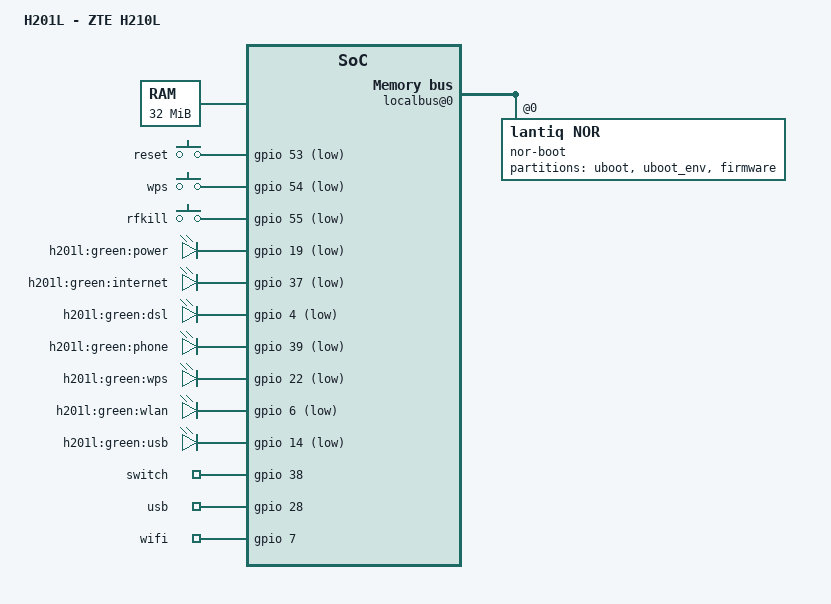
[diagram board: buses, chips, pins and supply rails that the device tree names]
/dts-v1/;

/include/ "ar9.dtsi"

/ {
	model = "H201L - ZTE H210L";

	chosen {
		bootargs = "console=ttyLTQ0,115200 init=/etc/preinit";

		leds {
			boot = &power_green;
			failsafe = &power_green;
			running = &power_green;

			dsl = &dsl;
			internet = &online;
			usb = &usb;
			wifi = &wifi;
		};
	};

	memory@0 {
		reg = <0x0 0x2000000>;
	};

	fpi@10000000 {
		localbus@0 {
			nor-boot@0 {
				compatible = "lantiq,nor";
				bank-width = <2>;
				reg = <0 0x0 0x2000000>;
				#address-cells = <1>;
				#size-cells = <1>;

				partition@0 {
					label = "uboot";
					reg = <0x00000 0x20000>;
					read-only;
				};

				partition@20000 {
					label = "uboot_env";
					reg = <0x20000 0x10000>;
					read-only;
				};

				partition@30000 {
					label = "firmware";
					reg = <0x30000 0x7d0000>;
				};
			};
		};

		gpio: pinmux@E100B10 {
			pinctrl-names = "default";
			pinctrl-0 = <&state_default>;

			state_default: pinmux {
			};
		};

		etop@E180000 {
			phy-mode = "rgmii";
		};

		ifxhcd@E101000 {
			status = "okay";
			gpios = <&gpio 36 0>;
		};
	};

	gpio-keys-polled {
		compatible = "gpio-keys-polled";
		#address-cells = <1>;
		#size-cells = <0>;
		poll-interval = <100>;

		reset {
			label = "reset";
			gpios = <&gpio 53 1>;
			linux,code = <0x198>;
		};
		wps {
			label = "wps";
			gpios = <&gpio 54 1>;
			linux,code = <0x211>;
		};
		rfkill {
			label = "rfkill";
			gpios = <&gpio 55 1>;
			linux,code = <0xf7>;
		};
	};

	gpio-leds {
		compatible = "gpio-leds";

		power_green: power {
			label = "h201l:green:power";
			gpios = <&gpio 19 1>;
			default-state = "keep";
		};
		online: online {
			label = "h201l:green:internet";
			gpios = <&gpio 37 1>;
		};
		dsl: dsl {
			label = "h201l:green:dsl";
			gpios = <&gpio 4 1>;
		};
		phone {
			label = "h201l:green:phone";
			gpios = <&gpio 39 1>;
		};
		wps {
			label = "h201l:green:wps";
			gpios = <&gpio 22 1>;
		};
		wifi: wifi {
			label = "h201l:green:wlan";
			gpios = <&gpio 6 1>;
		};
		usb: usb {
			label = "h201l:green:usb";
			gpios = <&gpio 14 1>;
		};
	};

	gpio_export {
		compatible = "gpio-export";
		#size-cells = <0>;

		switch {
			gpio-export,name = "switch";
			gpio-export,output = <1>;
			gpios = <&gpio 38 0>;
		};
		usb {
			gpio-export,name = "usb";
			gpio-export,output = <1>;
			gpios = <&gpio 28 0>;
		};
		wifi {
			gpio-export,name = "wifi";
			gpio-export,output = <1>;
			gpios = <&gpio 7 0>;
		};
	};
};
